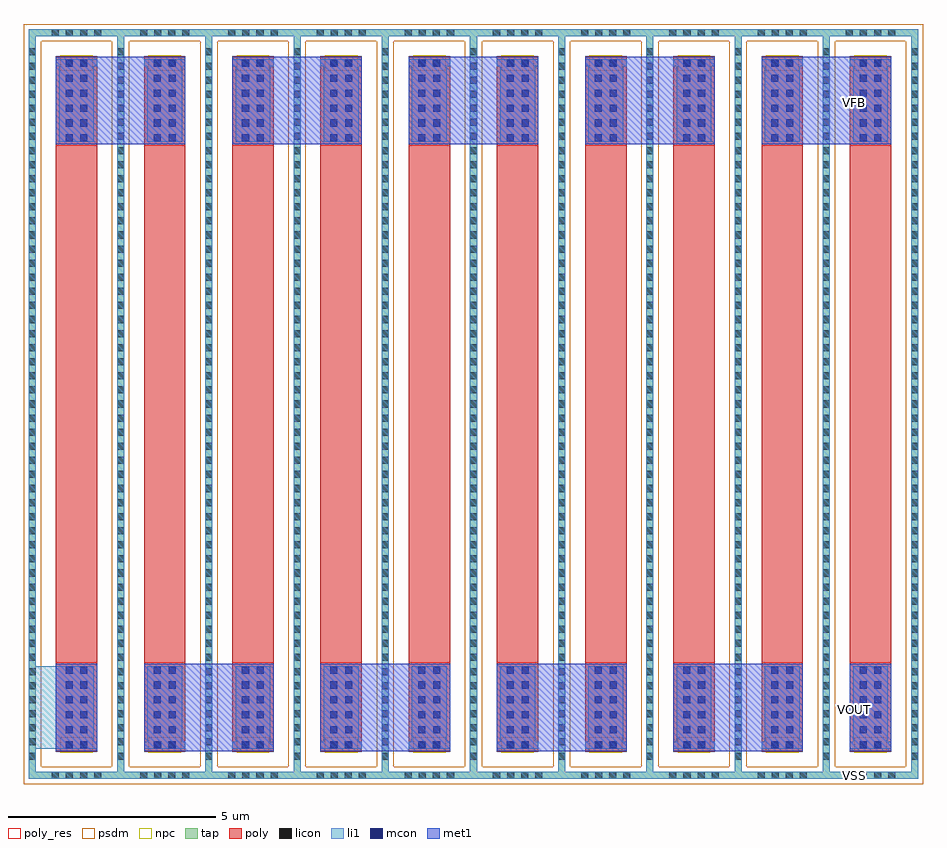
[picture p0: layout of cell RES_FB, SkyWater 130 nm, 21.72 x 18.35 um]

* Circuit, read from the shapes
.subckt RES_FB VFB VOUT VSS
R1 n1 VSS sky130_fd_pr__res_generic_po w=1 l=12.5
R2 n1 n2 sky130_fd_pr__res_generic_po w=1 l=12.5
R3 n3 n2 sky130_fd_pr__res_generic_po w=1 l=12.5
R4 n3 n4 sky130_fd_pr__res_generic_po w=1 l=12.5
R5 n5 n4 sky130_fd_pr__res_generic_po w=1 l=12.5
R6 n5 n6 sky130_fd_pr__res_generic_po w=1 l=12.5
R7 n7 n6 sky130_fd_pr__res_generic_po w=1 l=12.5
R8 n7 n8 sky130_fd_pr__res_generic_po w=1 l=12.5
R9 VFB n8 sky130_fd_pr__res_generic_po w=1 l=12.5
R10 VFB VOUT sky130_fd_pr__res_generic_po w=1 l=12.5
.ends

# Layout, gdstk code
import gdstk
lib = gdstk.Library(unit=1e-6, precision=1e-09)
def R(c, l, rs):  # rectangles x0, y0, x1, y1
    for r in rs: c.add(gdstk.rectangle(r[:2], r[2:], *l))
def A(c, l, x, y, w, h, nx, ny, dx, dy):  # array of equal rectangles
    R(c, l, [(x+i*dx, y+j*dy, x+i*dx+w, y+j*dy+h) for i in range(nx) for j in range(ny)])
tap = (65, 44)
poly_res = (66, 13)
poly = (66, 20)
licon = (66, 44)
li1 = (67, 20)
mcon = (67, 44)
met1 = (68, 20)
psdm = (94, 20)
npc = (95, 20)

res_poly = lib.new_cell('res_poly')
R(res_poly, tap, [(-1.15,-9.05,1.15,-8.88), (-1.15,-8.88,-0.98,8.88), (0.98,-8.88,1.15,8.88), (-1.15,8.88,1.15,9.05)])
R(res_poly, poly_res, [(-0.5,-6.25,0.5,6.25)])
R(res_poly, poly, [(-0.5,-8.4,0.5,8.4)])
A(res_poly, licon, -0.595, -9.05, 0.17, 0.17, 4, 2, 0.34, 17.93)
A(res_poly, licon, -1.15, -8.585, 0.17, 0.17, 1, 51, 0, 0.34)
A(res_poly, licon, 0.98, -8.585, 0.17, 0.17, 1, 51, 0, 0.34)
R(res_poly, licon, [(-0.255,-8.32,-0.085,-8.15), (0.085,-8.32,0.255,-8.15), (-0.255,8.15,-0.085,8.32), (0.085,8.15,0.255,8.32)])
R(res_poly, li1, [(-1.15,-9.05,1.15,-8.88), (-1.15,-8.88,-0.98,8.88), (0.98,-8.88,1.15,8.88), (-0.5,-8.32,0.5,-8.15), (-0.42,-8.15,0.42,-6.335), (-0.42,6.335,0.42,8.15), (-0.5,8.15,0.5,8.32), (-1.15,8.88,1.15,9.05)])
A(res_poly, mcon, -0.265, -8.31, 0.17, 0.17, 1, 6, 0, 0.36)
A(res_poly, mcon, 0.095, -8.31, 0.17, 0.17, 1, 6, 0, 0.36)
A(res_poly, mcon, -0.265, 6.34, 0.17, 0.17, 1, 6, 0, 0.36)
A(res_poly, mcon, 0.095, 6.34, 0.17, 0.17, 1, 6, 0, 0.36)
R(res_poly, met1, [(-0.5,-8.38,0.5,-6.275), (-0.5,6.275,0.5,8.38)])
R(res_poly, psdm, [(-1.275,-9.175,1.275,-8.755), (-1.275,-8.755,-0.855,8.755), (0.855,-8.755,1.275,8.755), (-1.275,8.755,1.275,9.175)])
R(res_poly, npc, [(-0.395,-8.42,0.395,-8.05), (-0.395,8.05,0.395,8.42)])

res_fb = lib.new_cell('RES_FB')
R(res_fb, li1, [(0.295,0.855,0.855,2.84)])
A(res_fb, met1, 3.905, 0.795, 1.13, 2.105, 4, 1, 4.26, 0)
A(res_fb, met1, 1.775, 15.45, 1.13, 2.105, 5, 1, 4.26, 0)
res_fb.add(gdstk.Reference(res_poly, (20.445,9.175)))
res_fb.add(gdstk.Reference(res_poly, (18.315,9.175)))
res_fb.add(gdstk.Reference(res_poly, (16.185,9.175)))
res_fb.add(gdstk.Reference(res_poly, (14.055,9.175)))
res_fb.add(gdstk.Reference(res_poly, (11.925,9.175)))
res_fb.add(gdstk.Reference(res_poly, (9.795,9.175)))
res_fb.add(gdstk.Reference(res_poly, (7.665,9.175)))
res_fb.add(gdstk.Reference(res_poly, (5.535,9.175)))
res_fb.add(gdstk.Reference(res_poly, (3.405,9.175)))
res_fb.add(gdstk.Reference(res_poly, (1.275,9.175)))
res_fb.add(gdstk.Label('VFB', (20.062,16.455), layer=68, texttype=5))
res_fb.add(gdstk.Label('VOUT', (20.062,1.805), layer=68, texttype=5))
res_fb.add(gdstk.Label('VSS', (20.062,0.205), layer=67, texttype=5))

lib.write_gds('RES_FB.gds')
